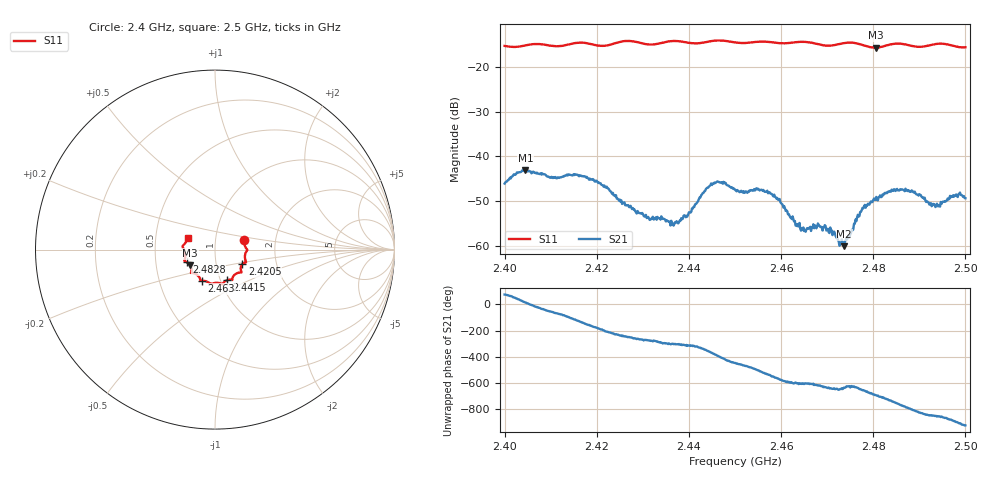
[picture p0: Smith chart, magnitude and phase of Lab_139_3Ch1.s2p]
# Hz S RI R 50
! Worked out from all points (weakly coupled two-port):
!   601 points, 2.4 GHz to 2.5 GHz, reference 50 ohm
!   highest |S21| = -43.10 dB at 2.4045 GHz (marker M1); lowest = -60.1 dB at 2.4737 GHz (marker M2)
!   lowest |S11| = -15.7 dB at 2.4805 GHz (marker M3), VSWR 1.39, Z = 37.3 - j6.69 ohm
!   |S11| at or under -10 dB: start of sweep to end of sweep
!   S12 and S22 are empty: the file has one direction only
!   S11 on the Smith chart (normalised r, x): 2.4 GHz: 1.38, +0.15; 2.4205 GHz: 1.34, -0.22; 2.4415 GHz: 1.07, -0.38; 2.463 GHz: 0.82, -0.29; 2.4828 GHz: 0.72, -0.10; 2.5 GHz: 0.73, +0.10
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2.4e9  0.1635 0.0517  0.00136 0.00476  0 0  0 0
2.4045e9  0.1735 0.00691  0.00681 0.0016  0 0  0 0
2.416667e9  0.173 -0.07  -0.00438 -0.00411  0 0  0 0
2.4205e9  0.152 -0.0815  -0.00506 0.000486  0 0  0 0
2.428833e9  0.1391 -0.1275  -0.000322 0.00242  0 0  0 0
2.433333e9  0.1002 -0.1516  0.00055 0.00196  0 0  0 0
2.437167e9  0.0961 -0.1695  0.00103 0.00149  0 0  0 0
2.4415e9  0.0659 -0.1707  0.00229 0.00182  0 0  0 0
2.445667e9  0.0418 -0.192  0.00463 -0.00191  0 0  0 0
2.45e9  0.0243 -0.1864  0.000279 -0.00425  0 0  0 0
2.4575e9  -0.0288 -0.1874  -0.00396 -0.000235  0 0  0 0
2.463e9  -0.072 -0.1737  -0.000993 0.0016  0 0  0 0
2.466667e9  -0.0822 -0.1671  -0.000664 0.00144  0 0  0 0
2.469667e9  -0.096 -0.1437  9.2e-06 0.00165  0 0  0 0
2.473667e9  -0.1305 -0.1303  6.03e-05 0.000986  0 0  0 0
2.477667e9  -0.131 -0.1174  0.00109 0.00242  0 0  0 0
2.4805e9  -0.1387 -0.0872  0.00283 0.00161  0 0  0 0
2.482833e9  -0.1583 -0.0701  0.00392 -6.45e-05  0 0  0 0
2.483333e9  -0.1623 -0.0682  0.00398 -0.00061  0 0  0 0
2.488667e9  -0.1657 -0.0394  0.000301 -0.00397  0 0  0 0
2.494e9  -0.1806 0.0153  -0.00181 -0.0021  0 0  0 0
2.5e9  -0.1527 0.0643  -0.00316 0.00123  0 0  0 0
